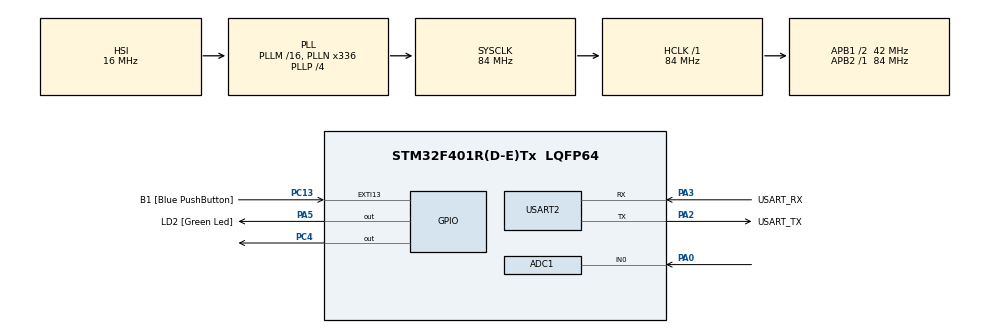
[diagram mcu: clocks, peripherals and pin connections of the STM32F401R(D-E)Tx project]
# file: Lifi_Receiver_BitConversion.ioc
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ADC1.Channel-0\#ChannelRegularConversion=ADC_CHANNEL_0
ADC1.ClockPrescaler=ADC_CLOCK_SYNC_PCLK_DIV4
ADC1.ContinuousConvMode=ENABLE
ADC1.DMAContinuousRequests=ENABLE
ADC1.DataAlign=ADC_DATAALIGN_RIGHT
ADC1.DiscontinuousConvMode=DISABLE
ADC1.EOCSelection=ADC_EOC_SINGLE_CONV
ADC1.EnableAnalogWatchDog=false
ADC1.ExternalTrigConv=ADC_SOFTWARE_START
ADC1.ExternalTrigConvEdge=ADC_EXTERNALTRIGCONVEDGE_NONE
ADC1.InjNumberOfConversion=0
ADC1.NbrOfConversion=1
ADC1.NbrOfConversionFlag=1
ADC1.Rank-0\#ChannelRegularConversion=1
ADC1.Resolution=ADC_RESOLUTION_12B
ADC1.SamplingTime-0\#ChannelRegularConversion=ADC_SAMPLETIME_480CYCLES
ADC1.ScanConvMode=ENABLE
ADC1.master=1
Dma.ADC1.0.Direction=DMA_PERIPH_TO_MEMORY
Dma.ADC1.0.FIFOMode=DMA_FIFOMODE_DISABLE
Dma.ADC1.0.Instance=DMA2_Stream0
Dma.ADC1.0.MemDataAlignment=DMA_MDATAALIGN_HALFWORD
Dma.ADC1.0.MemInc=DMA_MINC_ENABLE
Dma.ADC1.0.Mode=DMA_CIRCULAR
Dma.ADC1.0.PeriphDataAlignment=DMA_PDATAALIGN_HALFWORD
Dma.ADC1.0.PeriphInc=DMA_PINC_DISABLE
Dma.ADC1.0.Priority=DMA_PRIORITY_LOW
Dma.Request0=ADC1
Mcu.Family=STM32F4
Mcu.Name=STM32F401R(D-E)Tx
Mcu.Package=LQFP64
NVIC.DMA2_Stream0_IRQn=true\:0\:0\:false\:false\:true\:false
NVIC.PriorityGroup=NVIC_PRIORITYGROUP_0
PA0-WKUP.Signal=ADCx_IN0
PA13.GPIO_Label=TMS
PA13.Mode=Serial_Wire
PA13.Signal=SYS_JTMS-SWDIO
PA14.GPIO_Label=TCK
PA14.Mode=Serial_Wire
PA14.Signal=SYS_JTCK-SWCLK
PA2.GPIO_Label=USART_TX
PA2.GPIO_Mode=GPIO_MODE_AF_PP
PA2.GPIO_PuPd=GPIO_NOPULL
PA2.GPIO_Speed=GPIO_SPEED_FREQ_LOW
PA2.Mode=Asynchronous
PA2.Signal=USART2_TX
PA3.GPIO_Label=USART_RX
PA3.GPIO_Mode=GPIO_MODE_AF_PP
PA3.GPIO_PuPd=GPIO_NOPULL
PA3.GPIO_Speed=GPIO_SPEED_FREQ_LOW
PA3.Mode=Asynchronous
PA3.Signal=USART2_RX
PA5.GPIO_Label=LD2 [Green Led]
PA5.GPIO_Mode=GPIO_MODE_OUTPUT_PP
PA5.GPIO_PuPd=GPIO_NOPULL
PA5.GPIO_Speed=GPIO_SPEED_FREQ_LOW
PA5.Signal=GPIO_Output
PB3.GPIO_Label=SWO
PB3.Signal=SYS_JTDO-SWO
PC13-ANTI_TAMP.GPIO_Label=B1 [Blue PushButton]
PC13-ANTI_TAMP.GPIO_ModeDefaultEXTI=GPIO_MODE_IT_FALLING
PC13-ANTI_TAMP.GPIO_PuPd=GPIO_NOPULL
PC13-ANTI_TAMP.Signal=GPXTI13
PC14-OSC32_IN.Mode=LSE-External-Oscillator
PC14-OSC32_IN.Signal=RCC_OSC32_IN
PC15-OSC32_OUT.Mode=LSE-External-Oscillator
PC15-OSC32_OUT.Signal=RCC_OSC32_OUT
PC4.Signal=GPIO_Output
PH0\ -\ OSC_IN.Mode=HSE-External-Clock-Source
PH0\ -\ OSC_IN.Signal=RCC_OSC_IN
PH1\ -\ OSC_OUT.Mode=HSE-External-Clock-Source
PH1\ -\ OSC_OUT.Signal=RCC_OSC_OUT
ProjectManager.HeapSize=0x200
ProjectManager.StackSize=0x400
ProjectManager.TargetToolchain=EWARM
RCC.48MHZClocksFreq_Value=48000000
RCC.AHBFreq_Value=84000000
RCC.APB1CLKDivider=RCC_HCLK_DIV2
RCC.APB1Freq_Value=42000000
RCC.APB1TimFreq_Value=84000000
RCC.APB2Freq_Value=84000000
RCC.APB2TimFreq_Value=84000000
RCC.CortexFreq_Value=84000000
RCC.HCLKFreq_Value=84000000
RCC.HSE_VALUE=8000000
RCC.HSI_VALUE=16000000
RCC.PLLN=336
RCC.PLLP=RCC_PLLP_DIV4
RCC.PLLQ=7
RCC.SYSCLKFreq_VALUE=84000000
RCC.SYSCLKSource=RCC_SYSCLKSOURCE_PLLCLK
RCC.VCOOutputFreq_Value=336000000
SH.ADCx_IN0.0=ADC1_IN0,IN0
USART2.VirtualMode=VM_ASYNC
VP_TIM10_VS_ClockSourceINT.Mode=Enable_Timer
board=NUCLEO-F401RE

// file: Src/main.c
/**
  ******************************************************************************
  * @file           : main.c
  * @brief          : Main program body
  ******************************************************************************
  ** This notice applies to any and all portions of this file
  * that are not between comment pairs USER CODE BEGIN and
  * USER CODE END. Other portions of this file, whether
  * inserted by the user or by software development tools
  * are owned by their respective copyright owners.
  *
  * COPYRIGHT(c) 2019 STMicroelectronics
  *
  * Redistribution and use in source and binary forms, with or without modification,
  * are permitted provided that the following conditions are met:
  *   1. Redistributions of source code must retain the above copyright notice,
  *      this list of conditions and the following disclaimer.
  *   2. Redistributions in binary form must reproduce the above copyright notice,
  *      this list of conditions and the following disclaimer in the documentation
  *      and/or other materials provided with the distribution.
  *   3. Neither the name of STMicroelectronics nor the names of its contributors
  *      may be used to endorse or promote products derived from this software
  *      without specific prior written permission.
  *
  * THIS SOFTWARE IS PROVIDED BY THE COPYRIGHT HOLDERS AND CONTRIBUTORS "AS IS"
  * AND ANY EXPRESS OR IMPLIED WARRANTIES, INCLUDING, BUT NOT LIMITED TO, THE
  * IMPLIED WARRANTIES OF MERCHANTABILITY AND FITNESS FOR A PARTICULAR PURPOSE ARE
  * DISCLAIMED. IN NO EVENT SHALL THE COPYRIGHT HOLDER OR CONTRIBUTORS BE LIABLE
  * FOR ANY DIRECT, INDIRECT, INCIDENTAL, SPECIAL, EXEMPLARY, OR CONSEQUENTIAL
  * DAMAGES (INCLUDING, BUT NOT LIMITED TO, PROCUREMENT OF SUBSTITUTE GOODS OR
  * SERVICES; LOSS OF USE, DATA, OR PROFITS; OR BUSINESS INTERRUPTION) HOWEVER
  * CAUSED AND ON ANY THEORY OF LIABILITY, WHETHER IN CONTRACT, STRICT LIABILITY,
  * OR TORT (INCLUDING NEGLIGENCE OR OTHERWISE) ARISING IN ANY WAY OUT OF THE USE
  * OF THIS SOFTWARE, EVEN IF ADVISED OF THE POSSIBILITY OF SUCH DAMAGE.
  *
  ******************************************************************************
  */
#include "main.h"
#include "stm32f4xx_hal.h"

ADC_HandleTypeDef hadc1;
DMA_HandleTypeDef hdma_adc1;

TIM_HandleTypeDef htim10;

UART_HandleTypeDef huart2;

/* USER CODE BEGIN PV */
/* Private variables ---------------------------------------------------------*/
#define DELAY           6
#define START_DELAY     0
int threshold = 0;             //To determine 0s and 1s
uint8_t moveToNextBit = 0;
const int precision = 1000;
uint16_t ADC_Value[2];
int sensorValue=0;
char fname[20] = "";
int flag1=0;
int flag2=0;
int flag3=0;
int cnt[8];
uint8_t data;
//chk_data
int chk_d[8];
uint8_t chk_startBitReceived = 0;
uint8_t chk_recVal;

//const int dsize = 8;
/* USER CODE END PV */

void SystemClock_Config(void);
static void MX_GPIO_Init(void);
static void MX_DMA_Init(void);
static void MX_USART2_UART_Init(void);
static void MX_ADC1_Init(void);
static void MX_TIM10_Init(void);

/* USER CODE BEGIN PFP */
/* Private function prototypes -----------------------------------------------*/
uint8_t convertToDecimal(int arr[8]);
uint8_t getValue();
int Get_File();
void Lifi_Init();
/* USER CODE END PFP */

int main(void)
{

  /* MCU Configuration----------------------------------------------------------*/

  /* Reset of all peripherals, Initializes the Flash interface and the Systick. */
  HAL_Init();

  /* Configure the system clock */
  SystemClock_Config();

  /* Initialize all configured peripherals */
  MX_GPIO_Init();
  MX_DMA_Init();
  MX_USART2_UART_Init();
  MX_ADC1_Init();
  MX_TIM10_Init();
  /* USER CODE BEGIN 2 */
  HAL_ADC_Start_DMA(&hadc1,(uint32_t*)ADC_Value,1);
  Lifi_Init();
  /* USER CODE END 2 */

  /* Infinite loop */
  while (1)
  {

  /* USER CODE BEGIN 3 */
    HAL_GPIO_WritePin(GPIOC, GPIO_PIN_4, GPIO_PIN_SET);
   // data=getValue();
    switch(getValue()){
    case '0':
      cnt[0]++;
      break;
    case '1':
      cnt[1]++;
      break;
    case '2':
      cnt[2]++;
      break;
    case '3':
      cnt[3]++;
      break;
    case '4':
      cnt[4]++;
      break;
    case '5':
      cnt[5]++;
      break;
    case '6':
      cnt[6]++;
      break;
    case '7':
      cnt[7]++;
      break;
    default:
      break;
    }
    HAL_GPIO_WritePin(GPIOC, GPIO_PIN_4, GPIO_PIN_RESET);
    HAL_Delay(50);

  }
  /* USER CODE END 3 */

}

void SystemClock_Config(void)
{

  RCC_OscInitTypeDef RCC_OscInitStruct;
  RCC_ClkInitTypeDef RCC_ClkInitStruct;

    /**Configure the main internal regulator output voltage
    */
  __HAL_RCC_PWR_CLK_ENABLE();

  __HAL_PWR_VOLTAGESCALING_CONFIG(PWR_REGULATOR_VOLTAGE_SCALE2);

    /**Initializes the CPU, AHB and APB busses clocks
    */
  RCC_OscInitStruct.OscillatorType = RCC_OSCILLATORTYPE_HSI;
  RCC_OscInitStruct.HSIState = RCC_HSI_ON;
  RCC_OscInitStruct.HSICalibrationValue = 16;
  RCC_OscInitStruct.PLL.PLLState = RCC_PLL_ON;
  RCC_OscInitStruct.PLL.PLLSource = RCC_PLLSOURCE_HSI;
  RCC_OscInitStruct.PLL.PLLM = 16;
  RCC_OscInitStruct.PLL.PLLN = 336;
  RCC_OscInitStruct.PLL.PLLP = RCC_PLLP_DIV4;
  RCC_OscInitStruct.PLL.PLLQ = 7;
  if (HAL_RCC_OscConfig(&RCC_OscInitStruct) != HAL_OK)
  {
    _Error_Handler(__FILE__, __LINE__);
  }

    /**Initializes the CPU, AHB and APB busses clocks
    */
  RCC_ClkInitStruct.ClockType = RCC_CLOCKTYPE_HCLK|RCC_CLOCKTYPE_SYSCLK
                              |RCC_CLOCKTYPE_PCLK1|RCC_CLOCKTYPE_PCLK2;
  RCC_ClkInitStruct.SYSCLKSource = RCC_SYSCLKSOURCE_PLLCLK;
  RCC_ClkInitStruct.AHBCLKDivider = RCC_SYSCLK_DIV1;
  RCC_ClkInitStruct.APB1CLKDivider = RCC_HCLK_DIV2;
  RCC_ClkInitStruct.APB2CLKDivider = RCC_HCLK_DIV1;

  if (HAL_RCC_ClockConfig(&RCC_ClkInitStruct, FLASH_LATENCY_2) != HAL_OK)
  {
    _Error_Handler(__FILE__, __LINE__);
  }

    /**Configure the Systick interrupt time
    */
  HAL_SYSTICK_Config(HAL_RCC_GetHCLKFreq()/1000);

    /**Configure the Systick
    */
  HAL_SYSTICK_CLKSourceConfig(SYSTICK_CLKSOURCE_HCLK);

  /* SysTick_IRQn interrupt configuration */
  HAL_NVIC_SetPriority(SysTick_IRQn, 0, 0);
}

/* ADC1 init function */
static void MX_ADC1_Init(void)
{

  ADC_ChannelConfTypeDef sConfig;

    /**Configure the global features of the ADC (Clock, Resolution, Data Alignment and number of conversion)
    */
  hadc1.Instance = ADC1;
  hadc1.Init.ClockPrescaler = ADC_CLOCK_SYNC_PCLK_DIV4;
  hadc1.Init.Resolution = ADC_RESOLUTION_12B;
  hadc1.Init.ScanConvMode = ENABLE;
  hadc1.Init.ContinuousConvMode = ENABLE;
  hadc1.Init.DiscontinuousConvMode = DISABLE;
  hadc1.Init.ExternalTrigConvEdge = ADC_EXTERNALTRIGCONVEDGE_NONE;
  hadc1.Init.ExternalTrigConv = ADC_SOFTWARE_START;
  hadc1.Init.DataAlign = ADC_DATAALIGN_RIGHT;
  hadc1.Init.NbrOfConversion = 1;
  hadc1.Init.DMAContinuousRequests = ENABLE;
  hadc1.Init.EOCSelection = ADC_EOC_SINGLE_CONV;
  if (HAL_ADC_Init(&hadc1) != HAL_OK)
  {
    _Error_Handler(__FILE__, __LINE__);
  }

    /**Configure for the selected ADC regular channel its corresponding rank in the sequencer and its sample time.
    */
  sConfig.Channel = ADC_CHANNEL_0;
  sConfig.Rank = 1;
  sConfig.SamplingTime = ADC_SAMPLETIME_480CYCLES;
  if (HAL_ADC_ConfigChannel(&hadc1, &sConfig) != HAL_OK)
  {
    _Error_Handler(__FILE__, __LINE__);
  }

}

/* TIM10 init function */
static void MX_TIM10_Init(void)
{

  htim10.Instance = TIM10;
  htim10.Init.Prescaler = 0;
  htim10.Init.CounterMode = TIM_COUNTERMODE_UP;
  htim10.Init.Period = 0;
  htim10.Init.ClockDivision = TIM_CLOCKDIVISION_DIV1;
  if (HAL_TIM_Base_Init(&htim10) != HAL_OK)
  {
    _Error_Handler(__FILE__, __LINE__);
  }

}

/* USART2 init function */
static void MX_USART2_UART_Init(void)
{

  huart2.Instance = USART2;
  huart2.Init.BaudRate = 115200;
  huart2.Init.WordLength = UART_WORDLENGTH_8B;
  huart2.Init.StopBits = UART_STOPBITS_1;
  huart2.Init.Parity = UART_PARITY_NONE;
  huart2.Init.Mode = UART_MODE_TX_RX;
  huart2.Init.HwFlowCtl = UART_HWCONTROL_NONE;
  huart2.Init.OverSampling = UART_OVERSAMPLING_16;
  if (HAL_UART_Init(&huart2) != HAL_OK)
  {
    _Error_Handler(__FILE__, __LINE__);
  }

}

static void MX_DMA_Init(void)
{
  /* DMA controller clock enable */
  __HAL_RCC_DMA2_CLK_ENABLE();

  /* DMA interrupt init */
  /* DMA2_Stream0_IRQn interrupt configuration */
  HAL_NVIC_SetPriority(DMA2_Stream0_IRQn, 0, 0);
  HAL_NVIC_EnableIRQ(DMA2_Stream0_IRQn);

}

/** Configure pins as
        * Analog
        * Input
        * Output
        * EVENT_OUT
        * EXTI
*/
static void MX_GPIO_Init(void)
{

  GPIO_InitTypeDef GPIO_InitStruct;

  /* GPIO Ports Clock Enable */
  __HAL_RCC_GPIOC_CLK_ENABLE();
  __HAL_RCC_GPIOH_CLK_ENABLE();
  __HAL_RCC_GPIOA_CLK_ENABLE();
  __HAL_RCC_GPIOB_CLK_ENABLE();

  /*Configure GPIO pin Output Level */
  HAL_GPIO_WritePin(LD2_GPIO_Port, LD2_Pin, GPIO_PIN_RESET);

  /*Configure GPIO pin Output Level */
  HAL_GPIO_WritePin(GPIOC, GPIO_PIN_4, GPIO_PIN_RESET);

  /*Configure GPIO pin : B1_Pin */
  GPIO_InitStruct.Pin = B1_Pin;
  GPIO_InitStruct.Mode = GPIO_MODE_IT_FALLING;
  GPIO_InitStruct.Pull = GPIO_NOPULL;
  HAL_GPIO_Init(B1_GPIO_Port, &GPIO_InitStruct);

  /*Configure GPIO pin : LD2_Pin */
  GPIO_InitStruct.Pin = LD2_Pin;
  GPIO_InitStruct.Mode = GPIO_MODE_OUTPUT_PP;
  GPIO_InitStruct.Pull = GPIO_NOPULL;
  GPIO_InitStruct.Speed = GPIO_SPEED_FREQ_LOW;
  HAL_GPIO_Init(LD2_GPIO_Port, &GPIO_InitStruct);

  /*Configure GPIO pin : PC4 */
  GPIO_InitStruct.Pin = GPIO_PIN_4;
  GPIO_InitStruct.Mode = GPIO_MODE_OUTPUT_PP;
  GPIO_InitStruct.Pull = GPIO_NOPULL;
  GPIO_InitStruct.Speed = GPIO_SPEED_FREQ_LOW;
  HAL_GPIO_Init(GPIOC, &GPIO_InitStruct);

}

/* USER CODE BEGIN 4 */
uint8_t convertToDecimal(int arr[3])
{
  int j = 3;
  uint8_t n;
  uint8_t t = 1;
  uint8_t rec = 0;
  while(j >= 0)
  {
    if(arr[j] > threshold) // Data = 1;
    {
      n = j;
      while(n != 0)
      {
        t=t*2;
        n--;
      }
      rec = rec + t;
      t = 1;
    }
    j--;
  }
  flag1=12;
  return rec;
}
uint8_t getValue()
{
  flag1=0;
  int d[3]; //array to store incoming 16 bit values
  uint8_t startBitReceived = 0;
  chk_startBitReceived = 0;
  while(!startBitReceived){
    flag1=1;
    sensorValue = ADC_Value[0];
    HAL_Delay(0);       //system hold

    if(sensorValue < threshold) //If we detected start bit
    {
      startBitReceived = 1;
      chk_startBitReceived = 1;
      flag1=2;
    }
    else
      flag1= 50000;
    flag1=3;
  }
  //Just delay here until we get to the middle of the start bit
  HAL_Delay(START_DELAY);                        //control half
  flag1=3;
  //Get bits based on timer0
  for(unsigned long i = 0; i < 3; i++)
  {
    flag1=4;
    while(!moveToNextBit){
      HAL_Delay(DELAY);                    //control
      d[i] = ADC_Value[0];
      chk_d[i] =ADC_Value[0];
      moveToNextBit = 1;
      flag1=5;
    }

    moveToNextBit = 0;
    flag1=6;
  }

  flag1=7;

  uint8_t recVal = convertToDecimal(d)+40;
  chk_recVal = convertToDecimal(d)+40;
  //Busy wait on stop bit
  HAL_Delay(DELAY);                       //control
  flag1=8;
  return recVal;
}
void Lifi_Init(){
  HAL_Delay(50);
  for(int i=0; i<precision;i++){
    threshold += ADC_Value[0];
  }
  threshold = threshold / precision;
  threshold = threshold + 700;
}
int Get_File(){
  uint8_t fileNameSize = getValue();
  if(fileNameSize == 0) //Would cause for loop to never end
    {
      flag1 = 3000;
      //주행모드
    }
  else
  if(fileNameSize<20){
    //char fname[] = "";
    for(uint8_t i = 0; i < fileNameSize; i++)
    {
      fname[i] = getValue();
    }
    //fname[fileNameSize] = '\0';

  }
}
/* USER CODE END 4 */

void _Error_Handler(char *file, int line)
{
  while(1)
  {
  }
}

/************************ (C) COPYRIGHT STMicroelectronics *****END OF FILE****/
